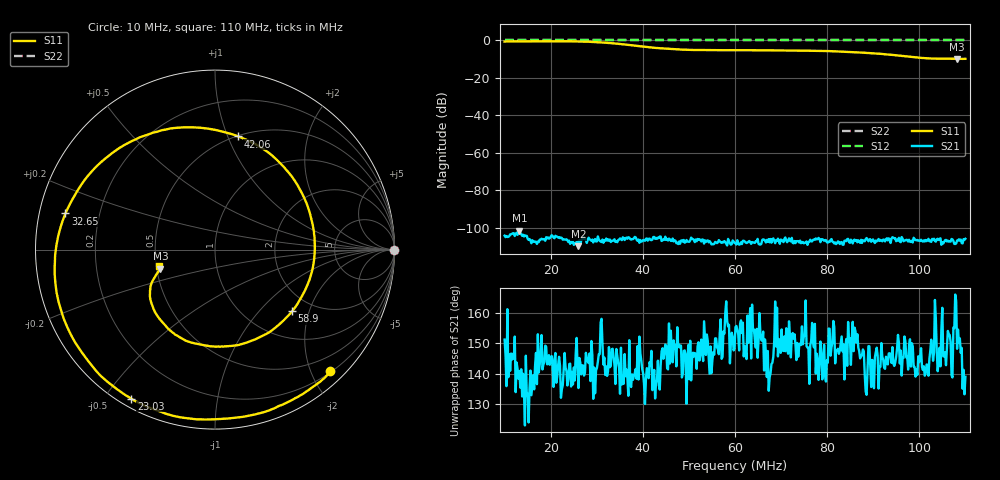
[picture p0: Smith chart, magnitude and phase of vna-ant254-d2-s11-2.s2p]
! Anritsu VNA Master:  Model: MS2034B/10/19/501
! SN:  1337062
! /bd0/ovro-jan-2016/vna-jan/vna-ant254-d2-s11-2.s2p
! Existing Calibration Information:
! TYPE:  Current Settings,  Active Cal Settings
! TIME:  01/13/2016 05:18:11 PM,  01/13/2016 05:04:46 PM
! INTERNAL TEMP:  39.3 C,  41.8 C
! # POINTS:  500,  500
! START FREQ:  10.000 MHz,  10.000 MHz
! STOP FREQ:  110.000 MHz,  110.000 MHz
! SOURCE POWER:  High,  High
! IFBW:  100 Hz,  100 Hz
! AVG FACTOR:  4 ,  4
! REF PLANE 1:  0 mm,  0 mm
! REF PLANE 2:  0 mm,  0 mm
! CAL TYPE:  Full S11,  Full S11
! CAL METHOD:  SOLT,  SOLT
! CAL LINE TYPE:  Coax,  Coax
! DUT PORT 1:  K-Conn(M),  K-Conn(M)
! DUT PORT 2:  N-Conn(M),  N-Conn(M)
! CAL STATUS:  OK: Accuracy High,  --
# GHZ S DB R 50.0
! FREQ.GHZ  S11DB  S11A  S21DB  S21A  S12DB  S12A  S22DB  S22A
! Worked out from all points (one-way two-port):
!   500 points, 10 MHz to 110 MHz, reference 50 ohm
!   highest |S21| = -101.54 dB at 13.21 MHz (marker M1); lowest = -109.8 dB at 26.03 MHz (marker M2)
!   lowest |S11| = -9.8 dB at 108.2 MHz (marker M3), VSWR 1.95, Z = 26.2 - j6.18 ohm
!   |S11| at or under -10 dB: nowhere
!   |S22| runs from 0.0 to 0.0 dB; largest |S21 - S12| = 1
!   S11 on the Smith chart (normalised r, x): 10 MHz: 0.21, -2.31; 23.03 MHz: 0.03, -0.58; 32.65 MHz: 0.08, +0.12; 42.06 MHz: 0.51, +1.09; 58.9 MHz: 1.57, -1.55; 110 MHz: 0.52, -0.11
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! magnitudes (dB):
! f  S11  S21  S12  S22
! 10 MHz  -0.6  -104.2  0.0  0.0
! 13.21 MHz  -0.5  -101.5  0.0  0.0
! 23.03 MHz  -0.4  -106.2  0.0  0.0
! 26.03 MHz  -0.6  -109.8  0.0  0.0
! 26.83 MHz  -0.6  -106.0  0.0  0.0
! 29.64 MHz  -0.8  -106.0  0.0  0.0
! 32.65 MHz  -1.3  -106.9  0.0  0.0
! 36.05 MHz  -2.1  -106.5  0.0  0.0
! 42.06 MHz  -3.8  -106.3  0.0  0.0
! 43.47 MHz  -4.1  -105.5  0.0  0.0
! 49.48 MHz  -5.0  -106.5  0.0  0.0
! 58.9 MHz  -5.2  -108.2  0.0  0.0
! 60.1 MHz  -5.2  -108.3  0.0  0.0
! 76.73 MHz  -5.4  -107.2  0.0  0.0
! 80.94 MHz  -5.7  -106.0  0.0  0.0
! 86.55 MHz  -6.3  -107.7  0.0  0.0
! 90.36 MHz  -6.9  -108.1  0.0  0.0
! 93.37 MHz  -7.6  -105.6  0.0  0.0
! 98.98 MHz  -9.0  -106.0  0.0  0.0
! 101.6 MHz  -9.5  -107.1  0.0  0.0
! 108.2 MHz  -9.8  -106.8  0.0  0.0
! 110 MHz  -9.8  -105.8  0.0  0.0
